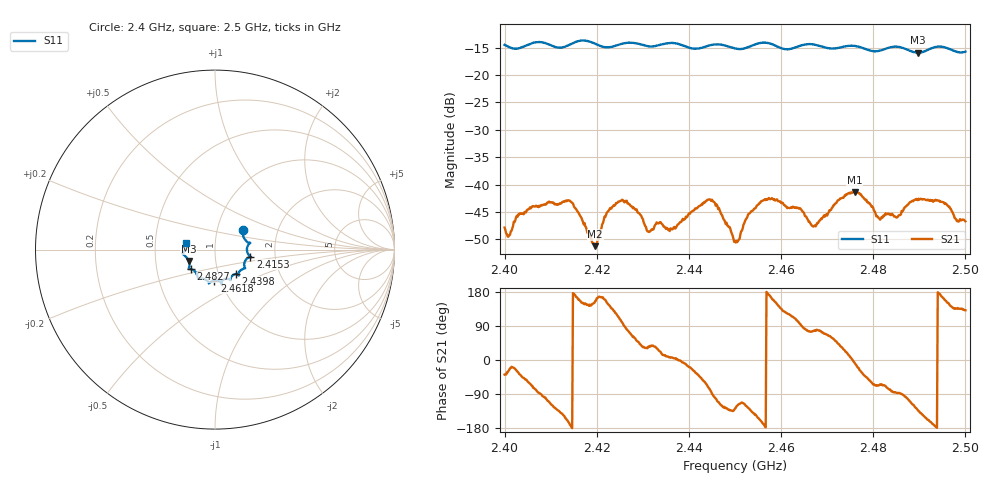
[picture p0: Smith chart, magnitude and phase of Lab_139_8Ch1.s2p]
# Hz S RI R 50
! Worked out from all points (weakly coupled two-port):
!   601 points, 2.4 GHz to 2.5 GHz, reference 50 ohm
!   highest |S21| = -41.35 dB at 2.476 GHz (marker M1); lowest = -51.3 dB at 2.4197 GHz (marker M2)
!   lowest |S11| = -15.9 dB at 2.4897 GHz (marker M3), VSWR 1.38, Z = 36.9 - j4.82 ohm
!   |S11| at or under -10 dB: start of sweep to end of sweep
!   S12 and S22 are empty: the file has one direction only
!   S11 on the Smith chart (normalised r, x): 2.4 GHz: 1.33, +0.29; 2.4153 GHz: 1.48, -0.12; 2.4398 GHz: 1.21, -0.34; 2.4618 GHz: 0.94, -0.33; 2.4827 GHz: 0.75, -0.17; 2.5 GHz: 0.72, +0.06
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2.4e9  0.1555 0.1068  0.00316 -0.00252  0 0  0 0
2.406333e9  0.1942 0.0372  0.0018 -0.00605  0 0  0 0
2.415333e9  0.1961 -0.0387  -0.00599 0.000985  0 0  0 0
2.416667e9  0.2022 -0.0426  -0.00437 0.00236  0 0  0 0
2.419667e9  0.1882 -0.0437  -0.00249 0.00112  0 0  0 0
2.422167e9  0.1668 -0.0658  -0.00486 0.00261  0 0  0 0
2.425167e9  0.1651 -0.0972  -0.00194 0.00682  0 0  0 0
2.431167e9  0.1415 -0.1162  0.00306 0.00212  0 0  0 0
2.433333e9  0.1307 -0.1334  0.00392 0.00201  0 0  0 0
2.436e9  0.1324 -0.1449  0.00395 0.000418  0 0  0 0
2.439833e9  0.1158 -0.1361  0.00504 -0.0015  0 0  0 0
2.445e9  0.0845 -0.1686  0.000132 -0.00726  0 0  0 0
2.45e9  0.0654 -0.1625  -0.00187 -0.00241  0 0  0 0
2.456e9  0.0382 -0.1938  -0.00692 -0.00156  0 0  0 0
2.461833e9  -0.00307 -0.1727  -0.00305 0.00528  0 0  0 0
2.466667e9  -0.0345 -0.1881  0.00107 0.00408  0 0  0 0
2.476e9  -0.0951 -0.1582  0.00848 -0.00116  0 0  0 0
2.482667e9  -0.1351 -0.109  0.002 -0.00507  0 0  0 0
2.483333e9  -0.1403 -0.1087  0.00126 -0.00527  0 0  0 0
2.489667e9  -0.1466 -0.0636  -0.00482 -0.00535  0 0  0 0
2.495167e9  -0.1793 -0.0192  -0.00662 0.00195  0 0  0 0
2.5e9  -0.1591 0.0383  -0.00304 0.00347  0 0  0 0
